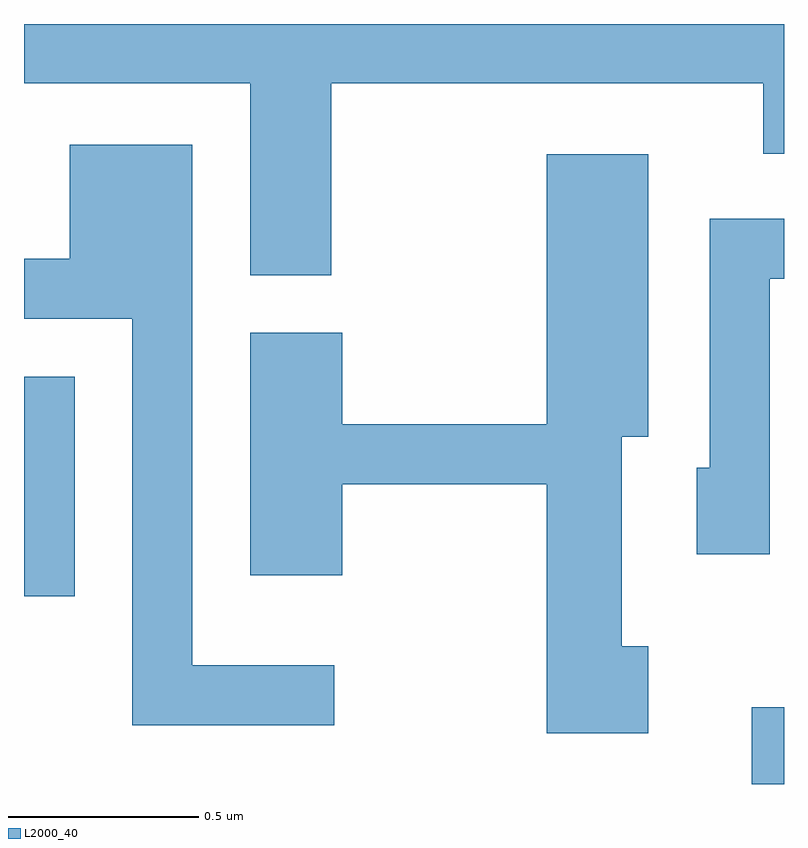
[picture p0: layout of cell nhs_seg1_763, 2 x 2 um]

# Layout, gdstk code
import gdstk
lib = gdstk.Library(unit=1e-6, precision=1e-09)
def R(c, l, rs):  # rectangles x0, y0, x1, y1
    for r in rs: c.add(gdstk.rectangle(r[:2], r[2:], *l))
def P(c, l, *ps):  # polygons
    for p in ps: c.add(gdstk.Polygon(p, *l))
L2000_40 = (2000, 40)

nhs_seg1_763 = lib.new_cell('nhs_seg1_763')
R(nhs_seg1_763, L2000_40, [(192.526,917.712,192.611,917.914), (190.611,918.206,190.744,918.784)])
P(nhs_seg1_763, L2000_40, [(191.419,919.556),(192.556,919.556),(192.556,919.371),(192.611,919.371),(192.611,919.712),(190.611,919.712),(190.611,919.556),(191.206,919.556),(191.206,919.051),(191.419,919.051)],
  [(191.428,918.024),(191.054,918.024),(191.054,919.394),(190.731,919.394),(190.731,919.094),(190.611,919.094),(190.611,918.936),(190.896,918.936),(190.896,917.866),(191.428,917.866)],
  [(192.254,918.074),(192.184,918.074),(192.184,918.626),(192.254,918.626),(192.254,919.369),(191.986,919.369),(191.986,918.659),(191.449,918.659),(191.449,918.899),(191.206,918.899),(191.206,918.261),(191.449,918.261),(191.449,918.501),(191.986,918.501),(191.986,917.846),(192.254,917.846)],
  [(192.574,919.041),(192.611,919.041),(192.611,919.199),(192.416,919.199),(192.416,918.544),(192.381,918.544),(192.381,918.316),(192.574,918.316)])

lib.write_gds('nhs_seg1_763.gds')
